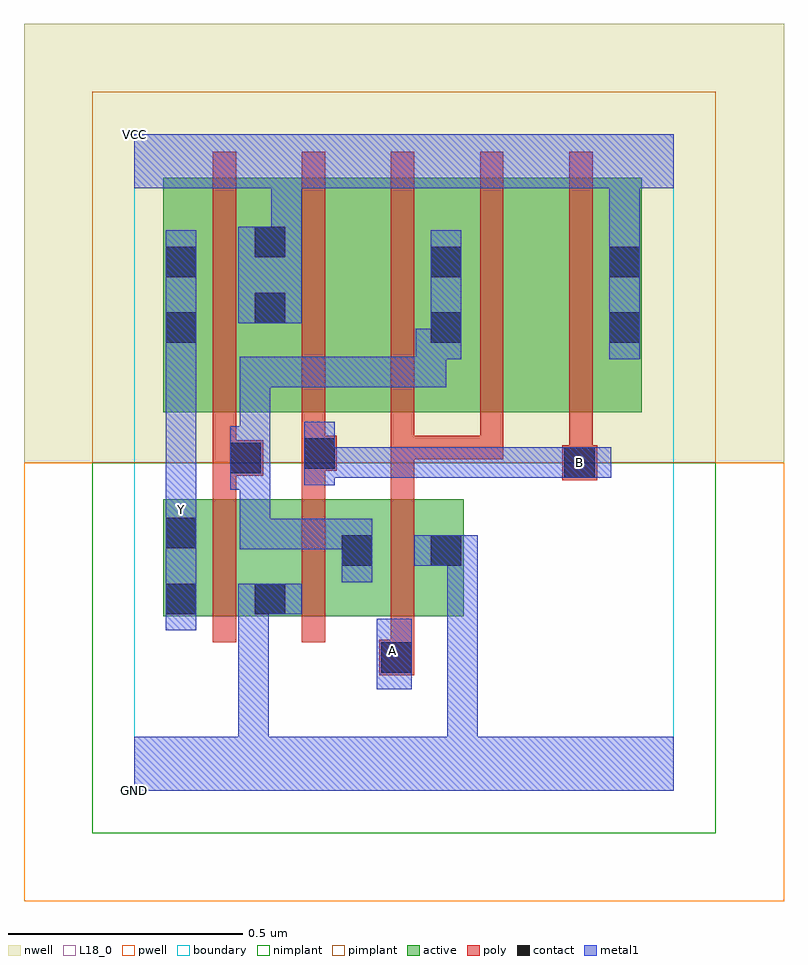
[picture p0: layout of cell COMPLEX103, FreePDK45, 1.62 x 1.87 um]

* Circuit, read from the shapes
.subckt COMPLEX103 A B GND VCC Y
M1 GND n1 Y VSUBS nfet w=0.25u l=0.05u
M2 n1 B GND VSUBS nfet w=0.25u l=0.05u
M3 GND A n1 VSUBS nfet w=0.25u l=0.05u
M4 VCC n1 Y n2 pfet w=0.5u l=0.05u
M5 n3 B VCC n2 pfet w=0.5u l=0.05u
M6 n1 A n3 n2 pfet w=0.5u l=0.05u
M7 n4 A n1 n2 pfet w=0.5u l=0.05u
M8 VCC B n4 n2 pfet w=0.5u l=0.05u
.ends

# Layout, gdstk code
import gdstk
lib = gdstk.Library(unit=1e-6, precision=1e-09)
def R(c, l, rs):  # rectangles x0, y0, x1, y1
    for r in rs: c.add(gdstk.rectangle(r[:2], r[2:], *l))
def A(c, l, x, y, w, h, nx, ny, dx, dy):  # array of equal rectangles
    R(c, l, [(x+i*dx, y+j*dy, x+i*dx+w, y+j*dy+h) for i in range(nx) for j in range(ny)])
active = (1, 0)
pwell = (2, 0)
nwell = (3, 0)
nimplant = (4, 0)
pimplant = (5, 0)
poly = (9, 0)
contact = (10, 0)
metal1 = (11, 0)
L18_0 = (18, 0)
boundary = (235, 0)

complex103 = lib.new_cell('COMPLEX103')
R(complex103, active, [(0.062,0.372,0.137,0.622), (0.062,0.372,0.327,0.622), (0.252,0.372,0.512,0.622), (0.252,0.372,0.327,0.497), (0.437,0.372,0.702,0.622), (0.437,0.372,0.512,0.55), (0.627,0.372,0.702,0.622), (0.062,0.807,0.137,1.2), (0.062,0.807,0.327,1.307), (0.252,0.807,0.327,1.255), (0.252,0.807,0.477,1.307), (0.477,0.807,0.702,1.307), (0.627,0.807,0.857,1.307), (0.627,0.807,0.702,1.2), (0.857,0.807,1.082,1.307), (1.007,0.807,1.082,1.255)])
R(complex103, pwell, [(-0.235,-0.235,1.385,0.7)])
R(complex103, nwell, [(-0.235,0.7,1.385,1.635)])
R(complex103, nimplant, [(-0.09,-0.09,1.24,0.7)])
R(complex103, pimplant, [(-0.09,0.7,1.24,1.49)])
A(complex103, poly, 0.167, 0.317, 0.05, 0.36, 3, 1, 0.19, 0)
A(complex103, poly, 0.357, 0.707, 0.05, 0.095, 3, 1, 0.19, 0)
A(complex103, poly, 0.167, 0.752, 0.05, 0.61, 5, 1, 0.19, 0)
R(complex103, poly, [(0.522,0.247,0.597,0.322), (0.547,0.272,0.597,0.367), (0.167,0.627,0.217,0.722), (0.357,0.627,0.407,0.732), (0.547,0.627,0.597,0.757), (0.912,0.662,0.987,0.737), (0.167,0.672,0.275,0.747), (0.357,0.682,0.432,0.757), (0.927,0.687,0.977,0.802), (0.167,0.697,0.217,0.802), (0.547,0.707,0.787,0.757), (0.547,0.707,0.597,0.757), (0.547,0.707,0.597,0.757), (0.547,0.707,0.597,0.757), (0.737,0.707,0.787,0.757)])
R(complex103, contact, [(0.527,0.252,0.592,0.317), (0.067,0.377,0.132,0.442), (0.257,0.377,0.322,0.442), (0.442,0.48,0.507,0.545), (0.632,0.48,0.697,0.545), (0.067,0.517,0.132,0.582), (0.917,0.667,0.982,0.732), (0.205,0.677,0.27,0.742), (0.362,0.687,0.427,0.752), (0.067,0.955,0.132,1.02), (0.632,0.955,0.697,1.02), (1.012,0.955,1.077,1.02), (0.257,0.997,0.322,1.062), (0.067,1.095,0.132,1.16), (0.632,1.095,0.697,1.16), (1.012,1.095,1.077,1.16), (0.257,1.137,0.322,1.202)])
R(complex103, metal1, [(0,0,1.15,0.115), (0.222,0.05,0.287,0.115), (0.222,0.05,0.287,0.115), (0.222,0.05,0.287,0.442), (0.667,0.05,0.732,0.115), (0.667,0.05,0.732,0.115), (0.667,0.05,0.732,0.115), (0.667,0.05,0.732,0.115), (0.667,0.05,0.732,0.115), (0.667,0.05,0.732,0.115), (0.667,0.05,0.732,0.545), (0.517,0.217,0.592,0.367), (0.067,0.342,0.132,0.617), (0.222,0.377,0.357,0.442), (0.222,0.377,0.287,0.442), (0.222,0.377,0.287,0.442), (0.222,0.377,0.287,0.442), (0.222,0.377,0.287,0.442), (0.442,0.445,0.507,0.58), (0.597,0.48,0.732,0.545), (0.225,0.515,0.29,0.58), (0.225,0.515,0.427,0.58), (0.225,0.515,0.29,0.707), (0.362,0.515,0.427,0.58), (0.362,0.515,0.507,0.58), (0.067,0.532,0.132,0.597), (0.067,0.532,0.132,0.667), (0.067,0.602,0.132,0.985), (0.205,0.642,0.27,0.777), (0.205,0.642,0.29,0.707), (0.225,0.642,0.29,0.707), (0.225,0.642,0.29,0.925), (0.362,0.652,0.427,0.787), (0.362,0.667,0.565,0.732), (0.362,0.667,0.427,0.732), (0.362,0.667,0.427,0.732), (0.5,0.667,0.565,0.732), (0.5,0.667,0.802,0.732), (0.737,0.667,0.94,0.732), (0.737,0.667,0.802,0.732), (0.737,0.667,0.802,0.732), (0.737,0.667,0.802,0.732), (0.875,0.667,0.947,0.732), (0.875,0.667,0.94,0.732), (0.882,0.667,1.017,0.732), (0.225,0.86,0.29,0.925), (0.225,0.86,0.427,0.925), (0.362,0.86,0.427,0.925), (0.362,0.86,0.427,0.925), (0.362,0.86,0.427,0.925), (0.362,0.86,0.665,0.925), (0.6,0.86,0.665,0.985), (0.067,0.92,0.132,1.195), (0.6,0.92,0.697,0.985), (0.632,0.92,0.697,1.195), (1.012,0.92,1.077,1.195), (0.222,0.997,0.357,1.202), (1.012,1.13,1.077,1.35), (0.292,1.137,0.357,1.35), (0,1.285,1.15,1.4)])
R(complex103, L18_0, [(0,0,1.15,0.115), (0.222,0.05,0.287,0.115), (0.222,0.05,0.287,0.115), (0.222,0.05,0.287,0.442), (0.667,0.05,0.732,0.115), (0.667,0.05,0.732,0.115), (0.667,0.05,0.732,0.115), (0.667,0.05,0.732,0.115), (0.667,0.05,0.732,0.115), (0.667,0.05,0.732,0.115), (0.667,0.05,0.732,0.545), (0.517,0.217,0.592,0.367), (0.517,0.267,0.582,0.332), (0.067,0.342,0.132,0.617), (0.222,0.377,0.287,0.442), (0.222,0.377,0.287,0.442), (0.222,0.377,0.287,0.442), (0.222,0.377,0.287,0.442), (0.222,0.377,0.357,0.442), (0.597,0.48,0.732,0.545), (0.067,0.532,0.132,0.667), (0.067,0.532,0.132,0.597), (0.067,0.567,0.132,0.632), (0.067,0.602,0.132,0.985), (0.362,0.652,0.427,0.787), (0.362,0.667,0.427,0.732), (0.362,0.667,0.427,0.732), (0.362,0.667,0.565,0.732), (0.5,0.667,0.565,0.732), (0.5,0.667,0.802,0.732), (0.737,0.667,0.802,0.732), (0.737,0.667,0.802,0.732), (0.737,0.667,0.802,0.732), (0.737,0.667,0.94,0.732), (0.875,0.667,0.94,0.732), (0.875,0.667,0.947,0.732), (0.882,0.667,1.017,0.732), (0.917,0.667,0.982,0.732), (0.067,0.92,0.132,1.195), (1.012,0.92,1.077,1.195), (0.222,0.997,0.357,1.202), (1.012,1.13,1.077,1.35), (0.292,1.137,0.357,1.35), (0,1.285,1.15,1.4)])
R(complex103, boundary, [(0,0,1.15,1.4)])
complex103.add(gdstk.Label('A', (0.55,0.3), layer=11, texttype=0))
complex103.add(gdstk.Label('B', (0.95,0.7), layer=11, texttype=0))
complex103.add(gdstk.Label('Y', (0.1,0.6), layer=11, texttype=0))
complex103.add(gdstk.Label('VCC', (0,1.4), layer=11, texttype=0))
complex103.add(gdstk.Label('GND', (0,0), layer=11, texttype=0))

lib.write_gds('COMPLEX103.gds')
